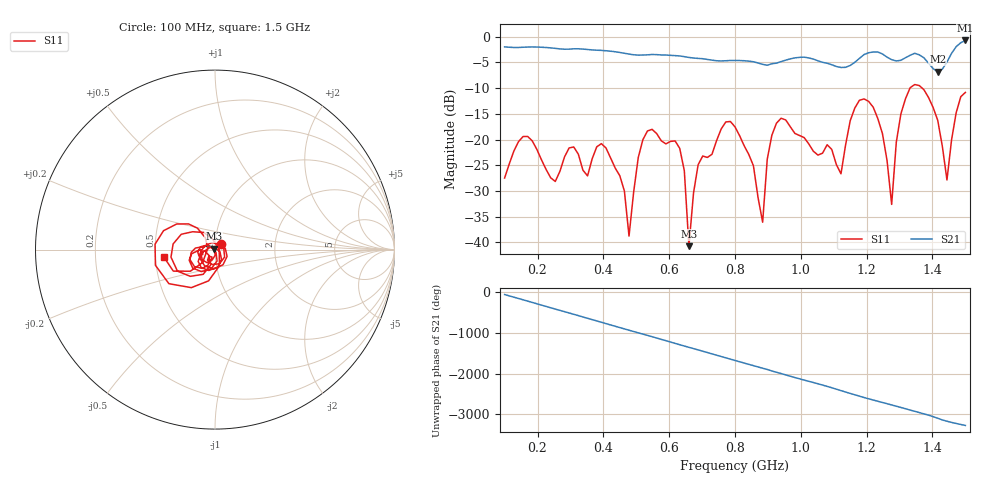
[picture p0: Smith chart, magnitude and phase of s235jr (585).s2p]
! NanoVNA-App
! Date: 2025-09-25 15:08:43
! Start: 100MHz Stop: 1,5GHz Points: 101
! S-Parameter data: F S11 S21 S12 S22
# Hz S RI R 50
!  Frequency  S11_Real  S11_Imag  S21_Real  S21_Imag  S12_Real  S12_Imag  S22_Real  S22_Imag
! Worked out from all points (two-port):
!   101 points, 100 MHz to 1.5 GHz, reference 50 ohm
!   highest |S21| = -0.72 dB at 1.5 GHz (marker M1); lowest = -6.8 dB at 1.416 GHz (marker M2)
!   |S21| within 3 dB of the highest: start of sweep to 628.8 MHz; 1.187 GHz to 1.256 GHz (69.16 MHz wide, 5.66 % of centre) (the widest 2 of 4)
!   lowest |S11| = -40.7 dB at 660 MHz (marker M3), VSWR 1.02, Z = 49.3 + j0.549 ohm
!   |S11| at or under -10 dB: start of sweep to 1.331 GHz; 1.369 GHz to end of sweep
!   S12 and S22 are empty: the file has one direction only
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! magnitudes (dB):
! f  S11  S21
! 100 MHz  -27.5  -2.0
! 156 MHz  -19.4  -2.0
! 338 MHz  -25.9  -2.4
! 408 MHz  -21.6  -2.7
! 478 MHz  -38.8  -3.4
! 520 MHz  -20.0  -3.6
! 576 MHz  -20.2  -3.5
! 632 MHz  -21.7  -3.7
! 660 MHz  -40.7  -4.0
! 688 MHz  -24.9  -4.2
! 800 MHz  -17.5  -4.6
! 884 MHz  -36.1  -5.4
! 926 MHz  -16.8  -5.1
! 1.038 GHz  -22.2  -4.3
! 1.122 GHz  -26.6  -6.0
! 1.206 GHz  -12.6  -3.1
! 1.276 GHz  -32.6  -4.5
! 1.29 GHz  -20.5  -4.7
! 1.332 GHz  -9.9  -3.6
! 1.416 GHz  -16.3  -6.8
! 1.444 GHz  -27.8  -4.9
! 1.5 GHz  -10.8  -0.7
